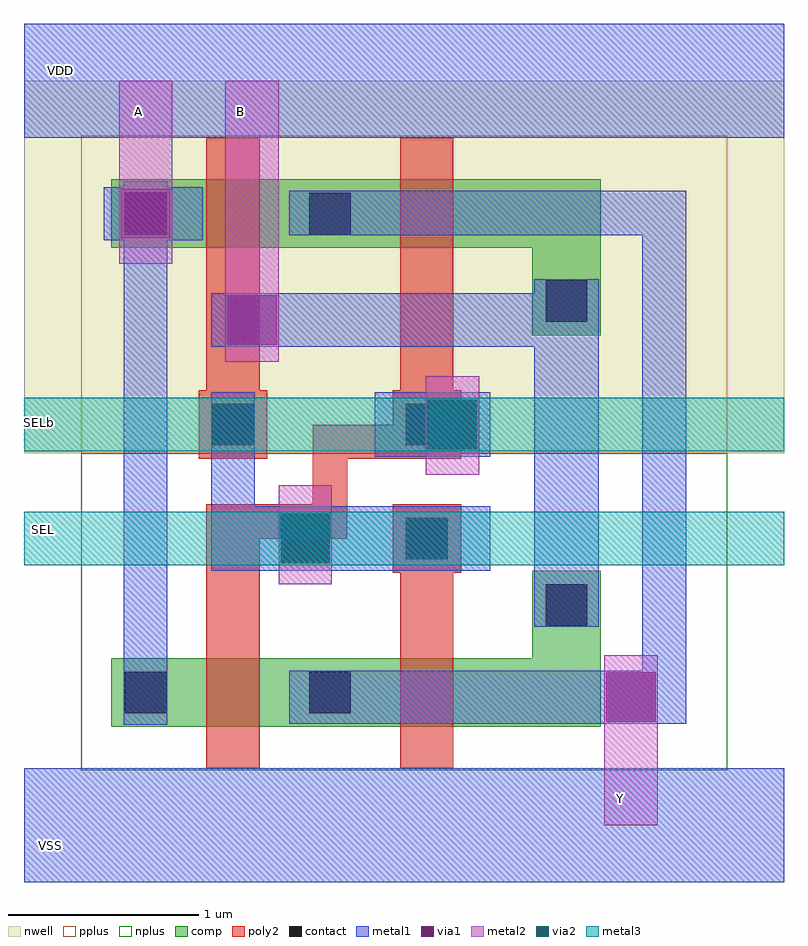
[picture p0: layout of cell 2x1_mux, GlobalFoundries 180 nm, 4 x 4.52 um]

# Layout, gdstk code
import gdstk
lib = gdstk.Library(unit=1e-6, precision=5e-09)
def R(c, l, rs):  # rectangles x0, y0, x1, y1
    for r in rs: c.add(gdstk.rectangle(r[:2], r[2:], *l))
nwell = (21, 0)
comp = (22, 0)
poly2 = (30, 0)
pplus = (31, 0)
nplus = (32, 0)
contact = (33, 0)
metal1 = (34, 0)
via1 = (35, 0)
metal2 = (36, 0)
via2 = (38, 0)
metal3 = (42, 0)

c_2x1_mux = lib.new_cell('2x1_mux')
R(c_2x1_mux, nwell, [(-6.495,-0.22,-2.495,1.74)])
R(c_2x1_mux, comp, [(-6.035,-1.66,-3.46,-1.3), (-3.82,-1.3,-3.46,-0.84), (-3.82,0.4,-3.46,0.86), (-6.035,0.86,-3.46,1.22)])
R(c_2x1_mux, poly2, [(-5.535,-1.88,-5.255,-0.49), (-4.515,-1.88,-4.235,-0.85), (-4.555,-0.85,-4.195,-0.49), (-5.255,-0.67,-4.975,-0.49), (-4.975,-0.67,-4.795,-0.07), (-5.575,-0.25,-5.215,0.11), (-4.795,-0.25,-4.555,-0.07), (-4.555,-0.25,-4.195,0.11), (-5.535,0.11,-5.255,1.44), (-4.515,0.11,-4.235,1.44)])
R(c_2x1_mux, pplus, [(-6.195,-0.22,-2.795,1.45)])
R(c_2x1_mux, nplus, [(-6.195,-1.89,-2.795,-0.22)])
R(c_2x1_mux, contact, [(-5.965,-1.59,-5.745,-1.37), (-4.995,-1.59,-4.775,-1.37), (-3.75,-1.13,-3.53,-0.91), (-4.485,-0.78,-4.265,-0.56), (-5.505,-0.18,-5.285,0.04), (-4.485,-0.18,-4.265,0.04), (-3.75,0.47,-3.53,0.69), (-5.965,0.93,-5.745,1.15), (-4.995,0.93,-4.775,1.15)])
R(c_2x1_mux, metal1, [(-6.495,-2.48,-2.495,-1.88), (-5.97,-1.65,-5.74,1.21), (-5.1,-1.645,-3.01,-1.365), (-3.24,-1.365,-3.01,0.925), (-3.81,-1.135,-3.47,0.695), (-5.51,-0.84,-5.28,0.1), (-5.28,-0.84,-4.04,-0.5), (-4.65,-0.24,-4.04,0.1), (-5.51,0.34,-3.81,0.62), (-6.075,0.9,-5.555,1.18), (-5.1,0.925,-3.01,1.16), (-6.495,1.44,-2.495,2.04)])
R(c_2x1_mux, via1, [(-3.43,-1.635,-3.17,-1.375), (-5.145,-0.8,-4.885,-0.54), (-4.37,-0.2,-4.11,0.06), (-5.425,0.35,-5.165,0.61), (-5.985,0.91,-5.725,1.17)])
R(c_2x1_mux, metal2, [(-3.44,-2.18,-3.16,-1.285), (-5.155,-0.91,-4.875,-0.39), (-4.38,-0.335,-4.1,0.185), (-5.435,0.26,-5.155,1.74), (-5.995,0.775,-5.715,1.74)])
R(c_2x1_mux, via2, [(-5.145,-0.8,-4.885,-0.54), (-4.37,-0.2,-4.11,0.06)])
R(c_2x1_mux, metal3, [(-6.495,-0.81,-2.495,-0.53), (-6.495,-0.21,-2.495,0.07)])
c_2x1_mux.add(gdstk.Label('VDD', (-6.305,1.795), layer=34, texttype=10))
c_2x1_mux.add(gdstk.Label('VSS', (-6.355,-2.285), layer=34, texttype=10))
c_2x1_mux.add(gdstk.Label('Y', (-3.355,-2.04), layer=36, texttype=10))
c_2x1_mux.add(gdstk.Label('A', (-5.89,1.575), layer=36, texttype=10))
c_2x1_mux.add(gdstk.Label('B', (-5.355,1.575), layer=36, texttype=10))
c_2x1_mux.add(gdstk.Label('SELb', (-6.415,-0.06), layer=42, texttype=10))
c_2x1_mux.add(gdstk.Label('SEL', (-6.39,-0.625), layer=42, texttype=10))

lib.write_gds('2x1_mux.gds')
